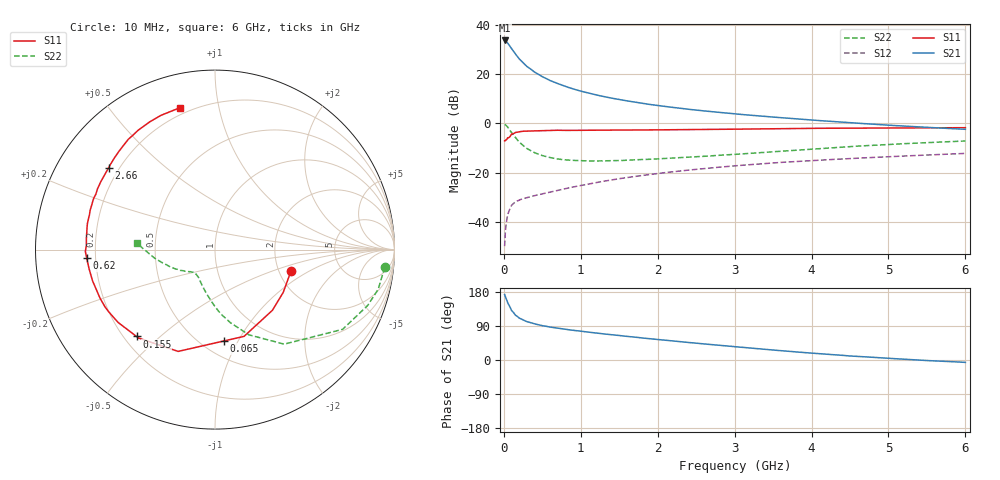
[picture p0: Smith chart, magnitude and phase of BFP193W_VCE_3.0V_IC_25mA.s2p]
! Infineon Technologies  Discrete & RF Semiconductors
! BFP193W
! VCE = 3.0 V,  IC =  25 mA
! Common Emitter S-Parameters:  Jan 2016
# GHz  S  MA  R  50
!  f  S11  S21  S12  S22
! GHz  MAG  ANG  MAG  ANG  MAG  ANG  MAG  ANG
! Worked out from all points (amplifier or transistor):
!   210 points, 10 MHz to 6 GHz, reference 50 ohm
!   highest |S21| = 33.6 dB at 10 MHz (marker M1)
!   |S21| within 3 dB of that: start of sweep to 93.41 MHz
!   unconditionally stable (mu >= 1): 843.6 MHz to 4.203 GHz
!   at 185 MHz: K = 0.38, MSG = 29.1 dB, |S12| = -31.4 dB
!   at 1.52 GHz: K = 1.12, MAG = 13.9 dB, |S12| = -22.4 dB
!   at 6 GHz: K = 0.94, MSG = 4.9 dB, |S12| = -12.2 dB
!   S11 on the Smith chart (normalised r, x): 10 MHz: 2.32, -0.70; 65 MHz: 0.64, -0.88; 155 MHz: 0.25, -0.42; 620 MHz: 0.17, -0.03; 2.66 GHz: 0.16, +0.33; 6 GHz: 0.16, +0.77
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0.01  0.4399 -16.1  48.05 172.7  0.0032 86.7  0.9508 -5.9
0.02  0.4489 -32.2  47.57 167.3  0.0063 79.4  0.9357 -13.7
0.03  0.4655 -46.6  46.33 161.4  0.009 74.1  0.9058 -20.1
0.05  0.5098 -71.5  42.77 150.4  0.014 65.0  0.8384 -32.0
0.065  0.5112 -84.2  39.41 145.6  0.0162 59.5  0.7721 -37.4
0.1  0.6032 -109.9  33 130.8  0.0216 51.2  0.6528 -53.8
0.15  0.6511 -130.8  25.49 118.4  0.0255 43.9  0.5112 -68.3
0.155  0.6521 -132.1  24.96 117.8  0.0257 43.7  0.5012 -69.1
0.2  0.6755 -143.1  20.34 110.7  0.0276 41.8  0.4163 -78.1
0.26  0.6911 -152.6  16.33 104.5  0.0298 40.1  0.3447 -86.6
0.3  0.6953 -157.2  14.23 101.2  0.0309 40.3  0.307 -91.4
0.4  0.704 -165.6  10.91 95.1  0.034 41.7  0.2527 -100.4
0.5  0.7095 -171.2  8.838 90.6  0.0369 44.5  0.2211 -107.5
0.62  0.7163 -176.1  7.196 86.4  0.0408 47.1  0.1984 -113.7
1.02  0.7206 172.5  4.411 75.5  0.0555 53.4  0.1737 -126.6
1.4  0.7256 164.6  3.243 66.6  0.0706 55.9  0.1746 -132.8
2.02  0.7367 153.0  2.275 53.7  0.0965 55.8  0.1905 -139.6
2.66  0.7478 142.4  1.748 41.4  0.1228 53.2  0.2166 -147.4
3.1  0.7624 135.6  1.506 33.5  0.1407 50.7  0.2396 -152.9
4.1  0.7919 121.6  1.135 16.7  0.1783 44.1  0.3055 -166.6
5.1  0.8065 111.1  0.896 3.3  0.213 37.6  0.3786 -178.1
6  0.814 104.0  0.755 -6.3  0.2446 32.3  0.4371 175.0
